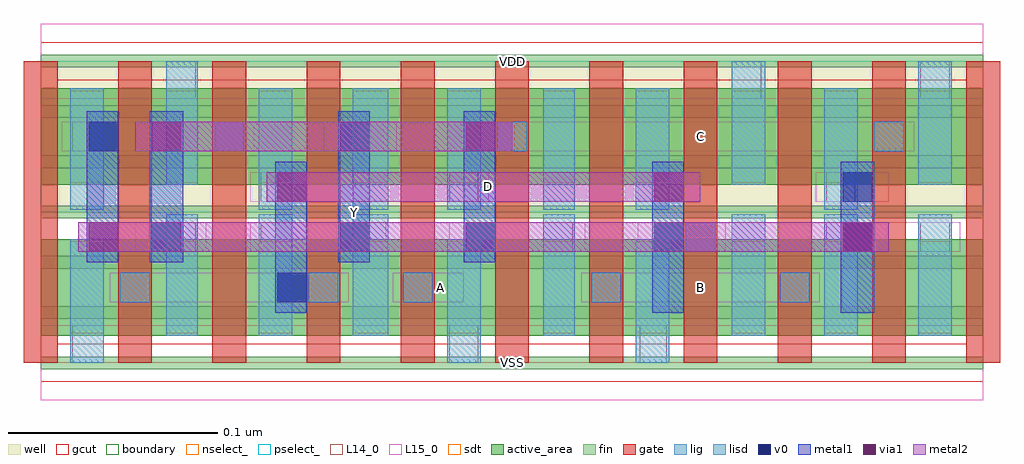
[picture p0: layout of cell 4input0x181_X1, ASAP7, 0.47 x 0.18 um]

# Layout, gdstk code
import gdstk
lib = gdstk.Library(unit=1e-6, precision=1e-09)
def R(c, l, rs):  # rectangles x0, y0, x1, y1
    for r in rs: c.add(gdstk.rectangle(r[:2], r[2:], *l))
def A(c, l, x, y, w, h, nx, ny, dx, dy):  # array of equal rectangles
    R(c, l, [(x+i*dx, y+j*dy, x+i*dx+w, y+j*dy+h) for i in range(nx) for j in range(ny)])
def P(c, l, *ps):  # polygons
    for p in ps: c.add(gdstk.Polygon(p, *l))
well = (1, 0)
fin = (2, 0)
gate = (7, 0)
gcut = (10, 0)
active_area = (11, 0)
nselect_ = (12, 0)
pselect_ = (13, 0)
L14_0 = (14, 0)
L15_0 = (15, 0)
lig = (16, 0)
lisd = (17, 0)
v0 = (18, 0)
metal1 = (19, 0)
metal2 = (20, 0)
via1 = (21, 0)
sdt = (88, 0)
boundary = (100, 0)

c_4input0x181_x1 = lib.new_cell('4input0x181_X1')
R(c_4input0x181_x1, well, [(0,0.072,0.45,0.144)])
A(c_4input0x181_x1, fin, 0, -0.003, 0.45, 0.006, 1, 7, 0, 0.024)
A(c_4input0x181_x1, gate, -0.008, 0, 0.016, 0.144, 11, 1, 0.045, 0)
P(c_4input0x181_x1, gcut, [(0,-0.009),(0,0),(-0.008,0),(-0.008,0.135),(0.008,0.135),(0.008,0.009),(0.442,0.009),(0.442,0.135),(-0.008,0.135),(-0.008,0.144),(0,0.144),(0,0.153),(0.45,0.153),(0.45,0.144),(0.458,0.144),(0.458,0),(0.45,0),(0.45,-0.009)])
R(c_4input0x181_x1, active_area, [(0,0.013,0.45,0.059), (0,0.085,0.45,0.131)])
R(c_4input0x181_x1, nselect_, [(0,0,0.45,0.072)])
R(c_4input0x181_x1, pselect_, [(0,0.072,0.45,0.144)])
A(c_4input0x181_x1, L14_0, 0.173, 0.029, 0.014, 0.014, 3, 1, 0.09, 0)
R(c_4input0x181_x1, L14_0, [(0.015,0,0.03,0.018), (0.195,0,0.209,0.018), (0.286,0,0.299,0.018), (0.038,0.029,0.052,0.043), (0.128,0.029,0.142,0.043), (0.06,0.053,0.074,0.067), (0.105,0.053,0.12,0.067), (0.24,0.053,0.254,0.067), (0.308,0.053,0.322,0.067), (0.42,0.053,0.434,0.067), (0.105,0.077,0.12,0.091), (0.195,0.077,0.209,0.091), (0.375,0.077,0.389,0.091), (0.015,0.101,0.03,0.115), (0.083,0.101,0.097,0.115), (0.15,0.101,0.164,0.115), (0.218,0.101,0.232,0.115), (0.398,0.101,0.412,0.115), (0.06,0.126,0.074,0.144), (0.33,0.126,0.344,0.144), (0.42,0.126,0.434,0.144)])
R(c_4input0x181_x1, L15_0, [(0,-0.018,0.45,0.018), (0.033,0.029,0.147,0.043), (0.168,0.029,0.202,0.043), (0.258,0.029,0.372,0.043), (0.045,0.053,0.079,0.067), (0.1,0.053,0.165,0.067), (0.195,0.053,0.26,0.067), (0.285,0.053,0.327,0.067), (0.375,0.053,0.439,0.067), (0.1,0.077,0.214,0.091), (0.37,0.077,0.405,0.091), (0.01,0.101,0.102,0.115), (0.135,0.101,0.17,0.115), (0.213,0.101,0.417,0.115), (0,0.126,0.45,0.162)])
A(c_4input0x181_x1, lig, 0.173, 0.029, 0.014, 0.014, 3, 1, 0.09, 0)
R(c_4input0x181_x1, lig, [(0.038,0.029,0.052,0.043), (0.128,0.029,0.142,0.043), (0.308,0.053,0.322,0.067), (0.083,0.101,0.097,0.115), (0.218,0.101,0.232,0.115), (0.398,0.101,0.412,0.115)])
A(c_4input0x181_x1, lisd, 0.014, 0.073, 0.016, 0.058, 5, 1, 0.09, 0)
R(c_4input0x181_x1, lisd, [(0.014,0,0.03,0.059), (0.194,0,0.21,0.059), (0.284,0,0.3,0.059), (0.06,0.013,0.075,0.071), (0.104,0.013,0.12,0.071), (0.149,0.013,0.166,0.071), (0.24,0.013,0.255,0.071), (0.33,0.013,0.346,0.071), (0.374,0.013,0.39,0.071), (0.419,0.013,0.435,0.071), (0.149,0.073,0.166,0.131), (0.24,0.073,0.255,0.131), (0.06,0.085,0.075,0.144), (0.33,0.085,0.346,0.144), (0.419,0.085,0.435,0.144)])
A(c_4input0x181_x1, v0, 0.203, 0.053, 0.014, 0.014, 3, 1, 0.09, 0)
R(c_4input0x181_x1, v0, [(0.113,0.029,0.127,0.043), (0.053,0.053,0.067,0.067), (0.143,0.053,0.157,0.067), (0.383,0.077,0.397,0.091), (0.023,0.101,0.037,0.115), (0.143,0.101,0.157,0.115)])
R(c_4input0x181_x1, metal1, [(0.112,0.024,0.127,0.096), (0.292,0.024,0.307,0.096), (0.382,0.024,0.398,0.096), (0.022,0.048,0.037,0.12), (0.052,0.048,0.068,0.12), (0.142,0.048,0.157,0.12), (0.202,0.048,0.217,0.12)])
R(c_4input0x181_x1, metal2, [(0.018,0.053,0.405,0.067), (0.108,0.077,0.315,0.091), (0.045,0.101,0.225,0.115)])
R(c_4input0x181_x1, via1, [(0.023,0.053,0.037,0.067), (0.383,0.053,0.397,0.067), (0.113,0.077,0.127,0.091), (0.293,0.077,0.307,0.091), (0.053,0.101,0.067,0.115), (0.203,0.101,0.217,0.115)])
A(c_4input0x181_x1, sdt, 0.014, 0.014, 0.016, 0.044, 4, 2, 0.09, 0.072)
R(c_4input0x181_x1, sdt, [(0.06,0.014,0.075,0.058), (0.149,0.014,0.166,0.058), (0.24,0.014,0.255,0.058), (0.33,0.014,0.346,0.058), (0.374,0.014,0.39,0.058), (0.419,0.014,0.435,0.058), (0.06,0.086,0.075,0.13), (0.149,0.086,0.166,0.13), (0.24,0.086,0.255,0.13), (0.33,0.086,0.346,0.13), (0.374,0.086,0.39,0.13), (0.419,0.086,0.435,0.13)])
R(c_4input0x181_x1, boundary, [(0,0,0.45,0.144)])
c_4input0x181_x1.add(gdstk.Label('C', (0.315,0.108), layer=15, texttype=251))
c_4input0x181_x1.add(gdstk.Label('VSS', (0.225,0), layer=15, texttype=251))
c_4input0x181_x1.add(gdstk.Label('VDD', (0.225,0.144), layer=15, texttype=251))
c_4input0x181_x1.add(gdstk.Label('A', (0.191,0.036), layer=15, texttype=251))
c_4input0x181_x1.add(gdstk.Label('VSS', (0.225,0), layer=15, texttype=251))
c_4input0x181_x1.add(gdstk.Label('VDD', (0.225,0.144), layer=15, texttype=251))
c_4input0x181_x1.add(gdstk.Label('B', (0.315,0.036), layer=15, texttype=251))
c_4input0x181_x1.add(gdstk.Label('VSS', (0.225,0), layer=15, texttype=251))
c_4input0x181_x1.add(gdstk.Label('VDD', (0.225,0.144), layer=15, texttype=251))
c_4input0x181_x1.add(gdstk.Label('VSS', (0.225,0), layer=15, texttype=251))
c_4input0x181_x1.add(gdstk.Label('VDD', (0.225,0.144), layer=15, texttype=251))
c_4input0x181_x1.add(gdstk.Label('VSS', (0.225,0), layer=15, texttype=251))
c_4input0x181_x1.add(gdstk.Label('VDD', (0.225,0.144), layer=15, texttype=251))
c_4input0x181_x1.add(gdstk.Label('VSS', (0.225,0), layer=3, texttype=251))
c_4input0x181_x1.add(gdstk.Label('VSS', (0.225,0), layer=3, texttype=251))
c_4input0x181_x1.add(gdstk.Label('VSS', (0.225,0), layer=3, texttype=251))
c_4input0x181_x1.add(gdstk.Label('VSS', (0.225,0), layer=3, texttype=251))
c_4input0x181_x1.add(gdstk.Label('VSS', (0.225,0), layer=3, texttype=251))
c_4input0x181_x1.add(gdstk.Label('VDD', (0.225,0.144), layer=1, texttype=251))
c_4input0x181_x1.add(gdstk.Label('VDD', (0.225,0.144), layer=1, texttype=251))
c_4input0x181_x1.add(gdstk.Label('VDD', (0.225,0.144), layer=1, texttype=251))
c_4input0x181_x1.add(gdstk.Label('VDD', (0.225,0.144), layer=1, texttype=251))
c_4input0x181_x1.add(gdstk.Label('VDD', (0.225,0.144), layer=1, texttype=251))
c_4input0x181_x1.add(gdstk.Label('D', (0.214,0.084), layer=20, texttype=251))
c_4input0x181_x1.add(gdstk.Label('Y', (0.15,0.072), layer=19, texttype=251))

lib.write_gds('4input0x181_X1.gds')
